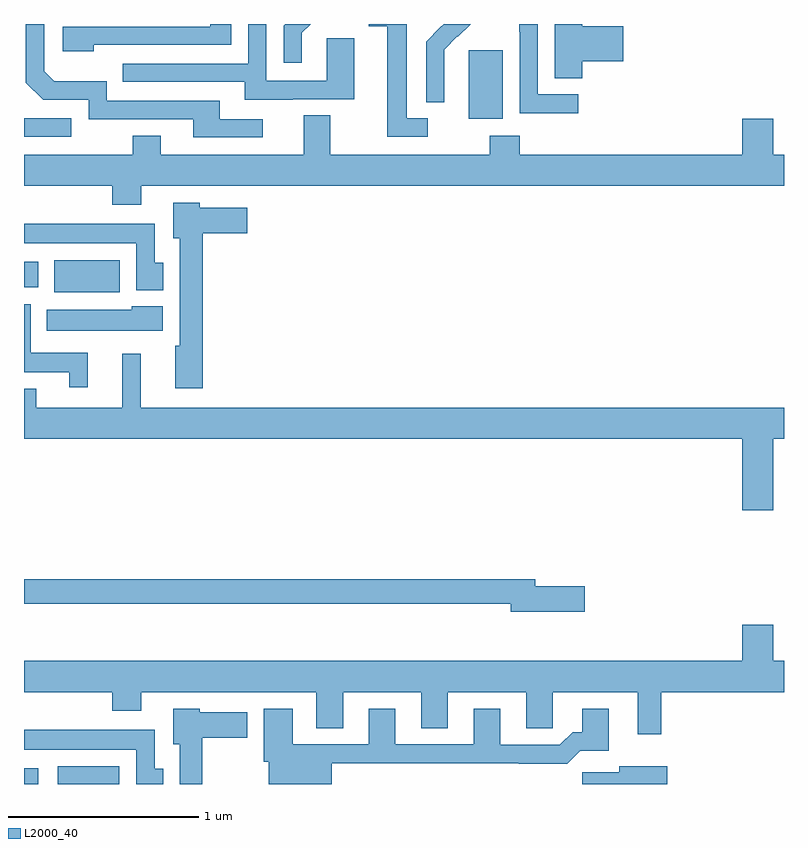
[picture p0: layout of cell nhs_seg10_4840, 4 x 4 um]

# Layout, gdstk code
import gdstk
lib = gdstk.Library(unit=1e-6, precision=1e-09)
def R(c, l, rs):  # rectangles x0, y0, x1, y1
    for r in rs: c.add(gdstk.rectangle(r[:2], r[2:], *l))
def P(c, l, *ps):  # polygons
    for p in ps: c.add(gdstk.Polygon(p, *l))
L2000_40 = (2000, 40)

nhs_seg10_4840 = lib.new_cell('nhs_seg10_4840')
R(nhs_seg10_4840, L2000_40, [(389,1298.5,389.074,1298.584), (389.177,1298.5,389.5,1298.593), (389.159,1301.087,389.503,1301.257), (389,1301.114,389.074,1301.248), (389,1301.907,389.248,1302.003), (391.34,1302.002,391.519,1302.363)])
P(nhs_seg10_4840, L2000_40, [(389.366,1302.39),(390.09,1302.39),(390.09,1302.5),(389.981,1302.5),(389.981,1302.486),(389.205,1302.486),(389.205,1302.356),(389.366,1302.356)],
  [(391.937,1302.305),(392.155,1302.305),(392.155,1302.488),(391.937,1302.488),(391.937,1302.5),(391.793,1302.5),(391.793,1302.214),(391.937,1302.214)],
  [(390.256,1302),(390.031,1302),(390.031,1302.096),(389.436,1302.096),(389.436,1302.199),(389.159,1302.199),(389.106,1302.252),(389.106,1302.5),(389.01,1302.5),(389.01,1302.192),(389.1,1302.102),(389.34,1302.102),(389.34,1302),(389.891,1302),(389.891,1301.904),(390.256,1301.904)],
  [(390.415,1302.105),(390.739,1302.105),(390.739,1302.425),(390.594,1302.425),(390.594,1302.201),(390.276,1302.201),(390.276,1302.5),(390.18,1302.5),(390.18,1302.291),(389.521,1302.291),(389.521,1302.195),(390.161,1302.195),(390.161,1302.101),(390.415,1302.101)],
  [(391.918,1302.129),(391.704,1302.129),(391.704,1302.5),(391.606,1302.5),(391.606,1302.46),(391.608,1302.46),(391.608,1302.031),(391.918,1302.031)],
  [(391.212,1302.242),(391.211,1302.242),(391.211,1302.365),(391.281,1302.435),(391.284,1302.432),(391.352,1302.5),(391.208,1302.5),(391.188,1302.48),(391.189,1302.479),(391.116,1302.406),(391.116,1302.088),(391.212,1302.088)],
  [(391.126,1302.003),(391.015,1302.003),(391.015,1302.5),(390.815,1302.5),(390.815,1302.488),(390.911,1302.488),(390.911,1301.907),(391.126,1301.907)],
  [(390.463,1302.453),(390.51,1302.5),(390.376,1302.5),(390.366,1302.49),(390.366,1302.297),(390.463,1302.297)],
  [(389.617,1301.648),(393,1301.648),(393,1301.812),(392.944,1301.812),(392.944,1302.001),(392.78,1302.001),(392.78,1301.812),(391.61,1301.812),(391.61,1301.911),(391.45,1301.911),(391.45,1301.812),(390.613,1301.812),(390.613,1302.02),(390.473,1302.02),(390.473,1301.812),(389.719,1301.812),(389.719,1301.911),(389.572,1301.911),(389.572,1301.812),(389,1301.812),(389,1301.648),(389.465,1301.648),(389.465,1301.549),(389.617,1301.549)],
  [(389.942,1301.399),(390.175,1301.399),(390.175,1301.533),(389.925,1301.533),(389.925,1301.56),(389.786,1301.56),(389.786,1301.373),(389.819,1301.373),(389.819,1300.806),(389.795,1300.806),(389.795,1300.584),(389.942,1300.584)],
  [(389.734,1301.244),(389.689,1301.244),(389.689,1301.449),(389,1301.449),(389,1301.345),(389.592,1301.345),(389.592,1301.1),(389.734,1301.1)],
  [(389.336,1300.771),(389.035,1300.771),(389.035,1301.026),(389,1301.026),(389,1300.667),(389.237,1300.667),(389.237,1300.587),(389.336,1300.587)],
  [(389.731,1301.014),(389.568,1301.014),(389.568,1300.996),(389.12,1300.996),(389.12,1300.886),(389.731,1300.886)],
  [(389.615,1300.765),(389.516,1300.765),(389.516,1300.48),(389.065,1300.48),(389.065,1300.579),(389,1300.579),(389,1300.316),(392.78,1300.316),(392.78,1299.942),(392.944,1299.942),(392.944,1300.316),(393,1300.316),(393,1300.48),(389.615,1300.48)],
  [(391.951,1299.542),(391.69,1299.542),(391.69,1299.578),(389,1299.578),(389,1299.45),(391.562,1299.45),(391.562,1299.407),(391.951,1299.407)],
  [(389,1298.984),(389.465,1298.984),(389.465,1298.885),(389.617,1298.885),(389.617,1298.984),(390.539,1298.984),(390.539,1298.794),(390.679,1298.794),(390.679,1298.984),(391.091,1298.984),(391.091,1298.794),(391.231,1298.794),(391.231,1298.984),(391.643,1298.984),(391.643,1298.794),(391.782,1298.794),(391.782,1298.984),(392.231,1298.984),(392.231,1298.763),(392.353,1298.763),(392.353,1298.984),(393,1298.984),(393,1299.148),(392.944,1299.148),(392.944,1299.337),(392.78,1299.337),(392.78,1299.148),(389,1299.148)],
  [(389.937,1298.744),(390.175,1298.744),(390.175,1298.878),(389.925,1298.878),(389.925,1298.896),(389.786,1298.896),(389.786,1298.709),(389.819,1298.709),(389.819,1298.5),(389.937,1298.5)],
  [(390.619,1298.608),(391.603,1298.608),(391.603,1298.606),(391.859,1298.606),(391.928,1298.675),(392.077,1298.675),(392.077,1298.896),(391.937,1298.896),(391.937,1298.773),(391.888,1298.773),(391.821,1298.706),(391.507,1298.706),(391.507,1298.896),(391.367,1298.896),(391.367,1298.709),(390.955,1298.709),(390.955,1298.896),(390.815,1298.896),(390.815,1298.709),(390.415,1298.709),(390.415,1298.896),(390.263,1298.896),(390.263,1298.616),(390.287,1298.616),(390.287,1298.5),(390.619,1298.5)],
  [(389.734,1298.58),(389.689,1298.58),(389.689,1298.785),(389,1298.785),(389,1298.681),(389.592,1298.681),(389.592,1298.5),(389.734,1298.5)],
  [(392.386,1298.593),(392.132,1298.593),(392.132,1298.561),(391.938,1298.561),(391.938,1298.5),(392.386,1298.5)])

lib.write_gds('nhs_seg10_4840.gds')
